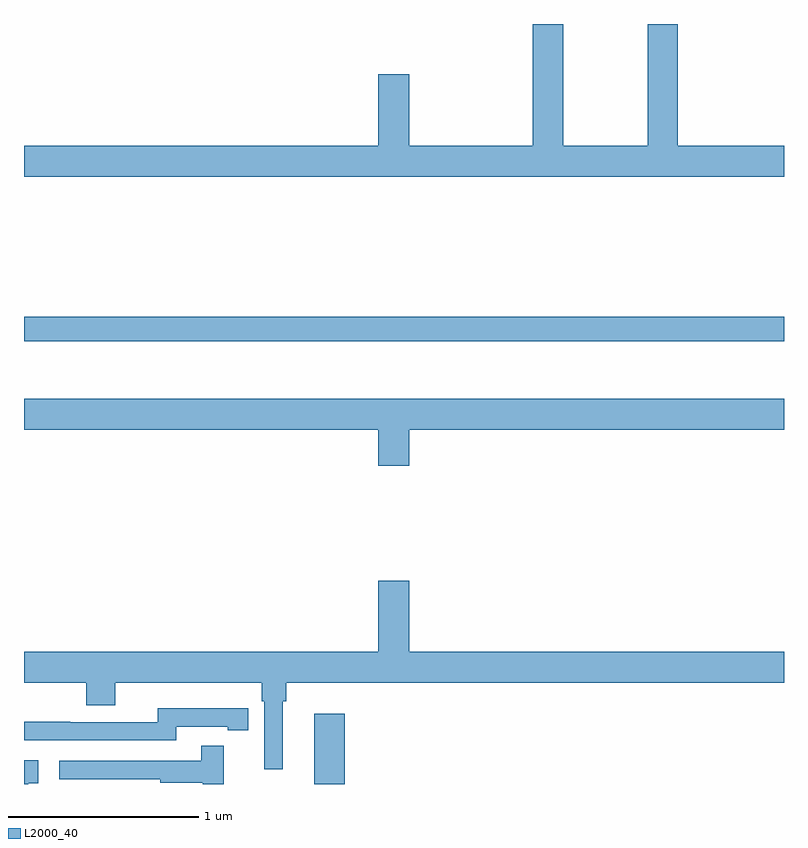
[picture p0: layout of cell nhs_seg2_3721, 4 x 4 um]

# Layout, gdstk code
import gdstk
lib = gdstk.Library(unit=1e-6, precision=1e-09)
def R(c, l, rs):  # rectangles x0, y0, x1, y1
    for r in rs: c.add(gdstk.rectangle(r[:2], r[2:], *l))
def P(c, l, *ps):  # polygons
    for p in ps: c.add(gdstk.Polygon(p, *l))
L2000_40 = (2000, 40)

nhs_seg2_3721 = lib.new_cell('nhs_seg2_3721')
R(nhs_seg2_3721, L2000_40, [(308.528,617.8,308.687,618.169), (307,620.13,311,620.258)])
P(nhs_seg2_3721, L2000_40, [(311,621.16),(310.442,621.16),(310.442,621.8),(310.282,621.8),(310.282,621.16),(309.837,621.16),(309.837,621.8),(309.677,621.8),(309.677,621.16),(309.028,621.16),(309.028,621.535),(308.864,621.535),(308.864,621.16),(307,621.16),(307,620.996),(311,620.996)],
  [(307,619.664),(308.864,619.664),(308.864,619.476),(309.028,619.476),(309.028,619.664),(311,619.664),(311,619.828),(307,619.828)],
  [(308.362,618.236),(308.381,618.236),(308.381,618.332),(311,618.332),(311,618.496),(309.028,618.496),(309.028,618.871),(308.864,618.871),(308.864,618.496),(307,618.496),(307,618.332),(307.328,618.332),(307.328,618.215),(307.48,618.215),(307.48,618.332),(308.252,618.332),(308.252,618.236),(308.265,618.236),(308.265,617.877),(308.362,617.877)],
  [(307.8,618.102),(308.072,618.102),(308.072,618.082),(308.18,618.082),(308.18,618.198),(308.072,618.198),(308.072,618.199),(307.704,618.199),(307.704,618.126),(307.244,618.126),(307.244,618.128),(307,618.128),(307,618.03),(307.8,618.03)],
  [(308.051,618.001),(307.933,618.001),(307.933,617.922),(307.185,617.922),(307.185,617.826),(307.717,617.826),(307.717,617.806),(307.941,617.806),(307.941,617.8),(308.051,617.8)],
  [(307.022,617.805),(307.075,617.805),(307.075,617.926),(307,617.926),(307,617.8),(307.022,617.8)])

lib.write_gds('nhs_seg2_3721.gds')
